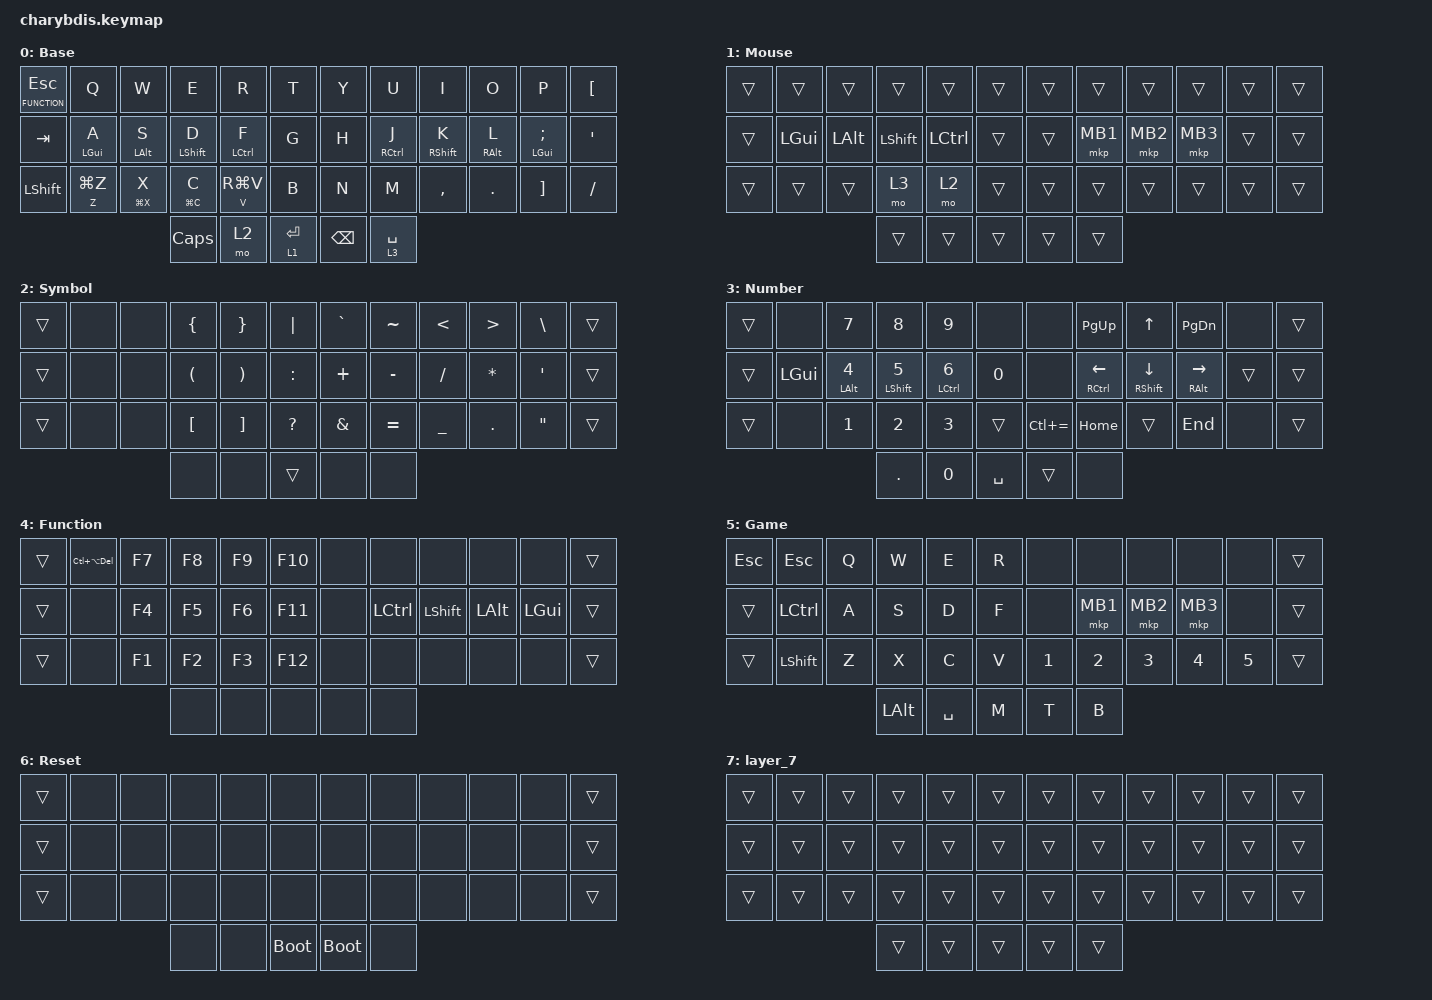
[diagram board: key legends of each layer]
#include <behaviors.dtsi>
#include <dt-bindings/zmk/keys.h>
#include <dt-bindings/zmk/pointing.h>

#define BASE 0
#define MOUSE 1
#define SYMBOL 2
#define NUMBER 3
#define FUNCTION 4
#define GAME 5
#define RESET 6
#define KEYS_L 0 1 2 3 4 10 11 12 13 14 20 21 22 23 24
#define KEYS_R 5 6 7 8 9 15 16 17 18 19 25 26 27 28 29
#define THUMBS 30 31 32 33 34 35

&sk {
    release-after-ms = <600>;
    quick-release;
};

&sl { ignore-modifiers; };

&mt { flavor = "tap-preferred"; };

&lt {
    flavor = "balanced";
    tapping-term-ms = <200>;
    quick-tap-ms = <175>;
};

&caps_word { /delete-property/ ignore-modifiers; };

/ {
    behaviors {
        hml: hml {
            compatible = "zmk,behavior-hold-tap";
            #binding-cells = <2>;
            flavor = "balanced";
            tapping-term-ms = <2000>;
            quick-tap-ms = <175>;
            require-prior-idle-ms = <250>;
            hold-trigger-key-positions = <KEYS_R THUMBS>;
            hold-trigger-on-release;
            bindings = <&kp>, <&kp>;
        };

        hmr: hmr {
            compatible = "zmk,behavior-hold-tap";
            #binding-cells = <2>;
            flavor = "balanced";
            tapping-term-ms = <2000>;
            quick-tap-ms = <175>;
            require-prior-idle-ms = <250>;
            hold-trigger-key-positions = <KEYS_L THUMBS>;
            hold-trigger-on-release;
            bindings = <&kp>, <&kp>;
        };

        hml_s: hml_s {
            compatible = "zmk,behavior-hold-tap";
            #binding-cells = <2>;
            flavor = "balanced";
            tapping-term-ms = <2000>;
            quick-tap-ms = <175>;
            require-prior-idle-ms = <0>;
            hold-trigger-key-positions = <KEYS_R THUMBS>;
            hold-trigger-on-release;
            bindings = <&kp>, <&kp>;
        };

        hmr_s: hmr_s {
            compatible = "zmk,behavior-hold-tap";
            #binding-cells = <2>;
            flavor = "balanced";
            tapping-term-ms = <2000>;
            quick-tap-ms = <175>;
            require-prior-idle-ms = <0>;
            hold-trigger-key-positions = <KEYS_L THUMBS>;
            hold-trigger-on-release;
            bindings = <&kp>, <&kp>;
        };

        smart_shift: smart_shift {
            compatible = "zmk,behavior-mod-morph";
            #binding-cells = <0>;
            bindings = <&sk LSHIFT>, <&caps_word>;

            mods = <(MOD_LSFT)>;
        };
    };

    combos {
        compatible = "zmk,combos";
        timeout-ms = <20>;
        require-prior-idle-ms = <250>;

        combo_reset_layer_left {
            key-positions = <20 24>;
            bindings = <&to RESET>;
        };

        combo_reset_layer_right {
            key-positions = <25 29>;
            bindings = <&to RESET>;
        };

        combo_reset_central {
            key-positions = <32 33>;
            bindings = <&bootloader>;
            require-prior-idle-ms = <2000>;
        };

        combo_normal {
            key-positions = <7 8>;
            bindings = <&to BASE>;
        };

        combo_fn {
            key-positions = <27 28>;
            bindings = <&sl FUNCTION>;
        };

        combo_genshin {
            key-positions = <5 9>;
            bindings = <&to GAME>;
        };

        combo_esc {
            key-positions = <1 2>;
            bindings = <&kp ESCAPE>;
        };

        combo_tab {
            key-positions = <2 3>;
            bindings = <&kp TAB>;
        };

        combo_cdel {
            key-positions = <11 12>;
            bindings = <&kp LC(BACKSPACE)>;
        };

        combo_unlock {
            key-positions = <0 4>;
            bindings = <&studio_unlock>;
        };
    };

    chosen { zmk,physical-layout = &charybdis_6col_layout; };

    keymap {
        compatible = "zmk,keymap";

        Base {
            display-name = "Base";
            bindings = <
&lt FUNCTION ESCAPE  &kp Q        &kp W        &kp E         &kp R         &kp T        &kp Y          &kp U         &kp I         &kp O        &kp P              &kp LEFT_BRACKET
&kp TAB              &hml LGUI A  &hml LALT S  &hml LSHFT D  &hml LCTRL F  &kp G        &kp H          &hmr RCTRL J  &hmr RSHFT K  &hmr RALT L  &hmr LGUI SEMI     &kp APOS
&kp LSHFT            &mt Z LG(Z)  &mt LG(X) X  &mt LG(C) C   &mt V RG(V)   &kp B        &kp N          &kp M         &kp COMMA     &kp DOT      &kp RIGHT_BRACKET  &kp SLASH
                                               &kp CAPSLOCK  &mo 2         &lt 1 RET    &kp BACKSPACE  &lt 3 SPACE
            >;
        };

        Mouse {
            display-name = "Mouse";
            bindings = <
&trans  &trans    &trans    &trans     &trans     &trans    &trans  &trans    &trans    &trans    &trans  &trans
&trans  &kp LGUI  &kp LALT  &kp LSHFT  &kp LCTRL  &trans    &trans  &mkp MB1  &mkp MB2  &mkp MB3  &trans  &trans
&trans  &trans    &trans    &mo 3      &mo 2      &trans    &trans  &trans    &trans    &trans    &trans  &trans
                            &trans     &trans     &trans    &trans  &trans
            >;
        };

        Sym {
            display-name = "Symbol";
            bindings = <
&trans  &none  &none  &kp LEFT_BRACE        &kp RIGHT_BRACE        &kp PIPE        &kp GRAVE  &kp TILDE  &kp LESS_THAN  &kp GREATER_THAN  &kp BACKSLASH      &trans
&trans  &none  &none  &kp LEFT_PARENTHESIS  &kp RIGHT_PARENTHESIS  &kp COLON       &kp PLUS   &kp MINUS  &kp SLASH      &kp ASTRK         &kp SINGLE_QUOTE   &trans
&trans  &none  &none  &kp LEFT_BRACKET      &kp RIGHT_BRACKET      &kp QUESTION    &kp AMPS   &kp EQUAL  &kp UNDER      &kp PERIOD        &kp DOUBLE_QUOTES  &trans
                      &none                 &none                  &trans          &none      &none
            >;
        };

        Num {
            display-name = "Number";
            bindings = <
&trans  &none     &kp N7          &kp N8           &kp N9           &none           &none          &kp PG_UP          &kp UP             &kp PG_DN          &none   &trans
&trans  &kp LGUI  &hml_s LALT N4  &hml_s LSHFT N5  &hml_s LCTRL N6  &kp NUMBER_0    &none          &hmr_s RCTRL LEFT  &hmr_s RSHFT DOWN  &hmr_s RALT RIGHT  &trans  &trans
&trans  &none     &kp N1          &kp N2           &kp N3           &trans          &kp LC(EQUAL)  &kp HOME           &trans             &kp END            &none   &trans
                                  &kp DOT          &kp N0           &kp SPACE       &trans         &none
            >;
        };

        Fun {
            display-name = "Function";
            bindings = <
&trans  &kp LC(LA(DEL))  &kp F7  &kp F8  &kp F9  &kp F10    &none  &none      &none      &none     &none     &trans
&trans  &none            &kp F4  &kp F5  &kp F6  &kp F11    &none  &kp LCTRL  &kp LSHFT  &kp LALT  &kp LGUI  &trans
&trans  &none            &kp F1  &kp F2  &kp F3  &kp F12    &none  &none      &none      &none     &none     &trans
                                 &none   &none   &none      &none  &none
            >;
        };

        Button {
            display-name = "Game";
            bindings = <
&kp ESCAPE  &kp ESCAPE  &kp Q  &kp W     &kp E      &kp R    &none   &none     &none     &none     &none   &trans
&trans      &kp LCTRL   &kp A  &kp S     &kp D      &kp F    &none   &mkp MB1  &mkp MB2  &mkp MB3  &none   &trans
&trans      &kp LSHIFT  &kp Z  &kp X     &kp C      &kp V    &kp N1  &kp N2    &kp N3    &kp N4    &kp N5  &trans
                               &kp LALT  &kp SPACE  &kp M    &kp T   &kp B
            >;
        };

        Reset {
            display-name = "Reset";
            bindings = <
&trans  &none  &none  &none  &none  &none          &none        &none  &none  &none  &none  &trans
&trans  &none  &none  &none  &none  &none          &none        &none  &none  &none  &none  &trans
&trans  &none  &none  &none  &none  &none          &none        &none  &none  &none  &none  &trans
                      &none  &none  &bootloader    &bootloader  &none
            >;
        };

        layer_7 {
            bindings = <
&trans  &trans  &trans  &trans  &trans  &trans    &trans  &trans  &trans  &trans  &trans  &trans
&trans  &trans  &trans  &trans  &trans  &trans    &trans  &trans  &trans  &trans  &trans  &trans
&trans  &trans  &trans  &trans  &trans  &trans    &trans  &trans  &trans  &trans  &trans  &trans
                        &trans  &trans  &trans    &trans  &trans
            >;
        };
    };
};
